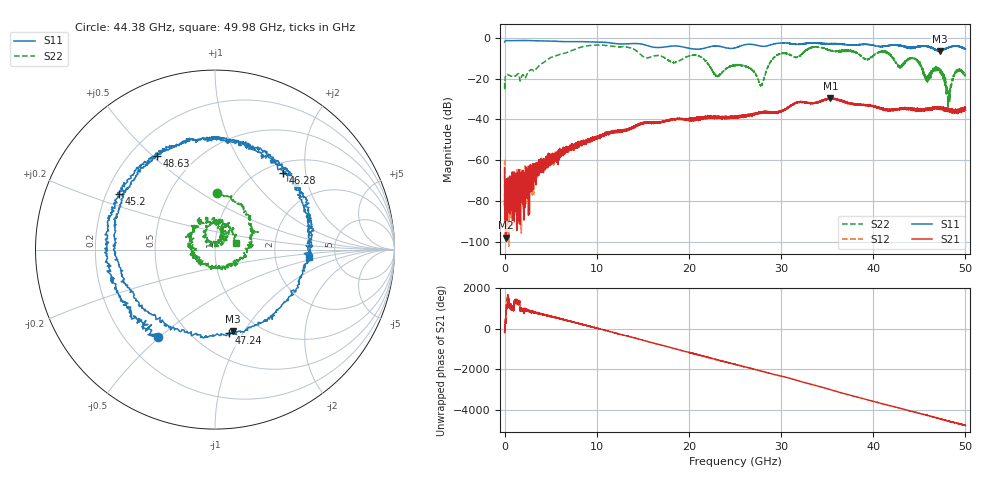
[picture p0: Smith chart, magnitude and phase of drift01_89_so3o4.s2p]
!Created with skrf (http://scikit-rf.org).
# Hz S RI R 50.0
!freq ReS11 ImS11 ReS21 ImS21 ReS12 ImS12 ReS22 ImS22
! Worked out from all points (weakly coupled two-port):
!   10001 points, 300 kHz to 50 GHz, reference 50 ohm
!   highest |S21| = -29.60 dB at 35.35 GHz (marker M1); lowest = -97.9 dB at 115.3 MHz (marker M2)
!   lowest |S11| = -6.7 dB at 47.22 GHz (marker M3), VSWR 2.73, Z = 38.7 - j44.7 ohm
!   |S11| at or under -10 dB: nowhere
!   |S22| runs from -35.7 to -3.6 dB; largest |S21 - S12| = 0.0039
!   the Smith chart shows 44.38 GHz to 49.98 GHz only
!   S11 on the Smith chart (normalised r, x): 44.38 GHz: 0.34, -0.50; 45.2 GHz: 0.25, +0.25; 46.28 GHz: 1.19, +1.51; 47.24 GHz: 0.73, -0.87; 48.63 GHz: 0.31, +0.51; 49.98 GHz: 3.16, -0.35
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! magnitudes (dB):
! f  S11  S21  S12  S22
! 300 kHz  -2.1  -63.6  -59.8  -22.0
! 115.3 MHz  -1.5  -97.9  -79.8  -18.5
! 8.335 GHz  -1.9  -51.6  -51.9  -4.6
! 16.67 GHz  -4.8  -41.3  -41.6  -8.7
! 20.97 GHz  -5.6  -39.7  -39.4  -8.8
! 23.09 GHz  -4.1  -38.9  -38.7  -18.8
! 25 GHz  -5.0  -38.5  -39.1  -13.7
! 27.84 GHz  -4.2  -36.6  -36.6  -23.1
! 29.47 GHz  -2.8  -36.7  -36.8  -8.8
! 33.34 GHz  -2.6  -32.1  -32.0  -4.8
! 35.35 GHz  -3.1  -29.6  -29.9  -6.3
! 41.67 GHz  -3.9  -35.3  -35.4  -7.7
! 42.85 GHz  -3.9  -34.8  -35.0  -14.4
! 44.38 GHz  -4.7  -34.8  -35.0  -10.0
! 45.2 GHz  -4.2  -35.9  -35.5  -14.0
! 46.28 GHz  -4.9  -34.7  -35.2  -17.6
! 47.22 GHz  -6.7  -34.8  -34.5  -16.7
! 47.24 GHz  -6.6  -35.2  -34.1  -17.1
! 48.12 GHz  -4.9  -35.9  -35.1  -31.4
! 48.63 GHz  -4.2  -35.8  -35.5  -20.3
! 49.98 GHz  -5.6  -34.3  -35.3  -18.3
! 50 GHz  -5.6  -35.5  -34.5  -18.8
